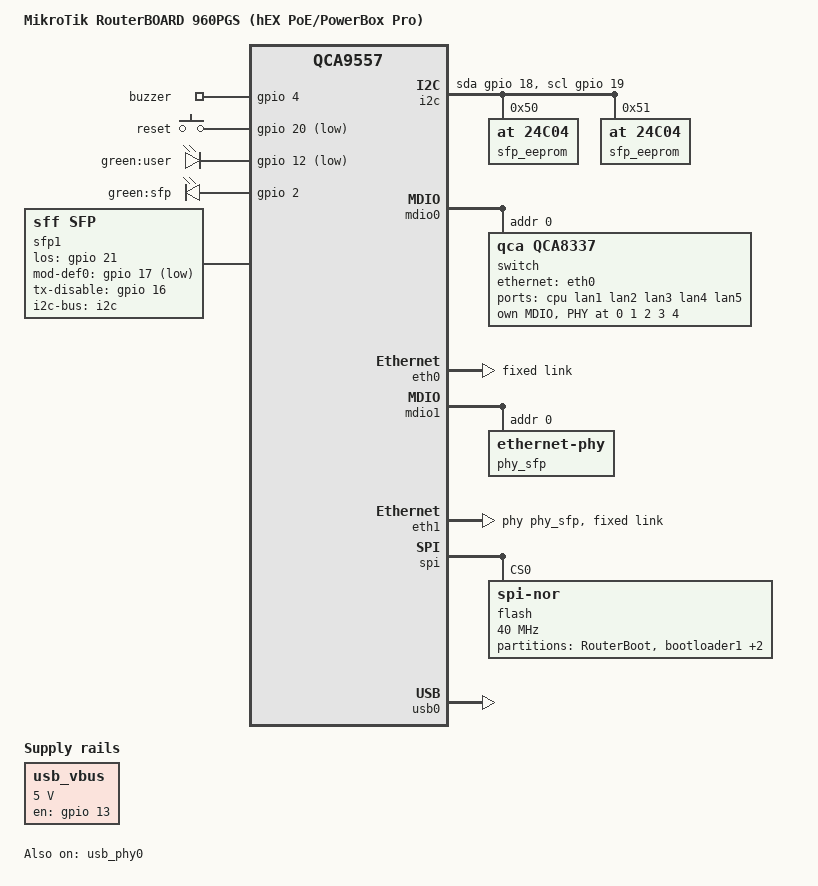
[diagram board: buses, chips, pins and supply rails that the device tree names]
// SPDX-License-Identifier: GPL-2.0-only

#include "qca955x.dtsi"

#include <dt-bindings/gpio/gpio.h>
#include <dt-bindings/input/input.h>
#include <dt-bindings/leds/common.h>

/ {
	compatible = "mikrotik,routerboard-960pgs", "qca,qca9557";
	model = "MikroTik RouterBOARD 960PGS (hEX PoE/PowerBox Pro)";

	aliases {
		led-boot = &led_user;
		led-failsafe = &led_user;
		led-running = &led_user;
		led-upgrade = &led_user;
	};

	gpio_export {
		compatible = "gpio-export";
		#size-cells = <0>;

		buzzer {
			/* Beeper requires PWM for frequency selection */
			gpio-export,name = "buzzer";
			gpio-export,output = <0>;
			gpios = <&gpio 4 GPIO_ACTIVE_HIGH>;
		};
	};

	i2c: i2c {
		compatible = "i2c-gpio";

		i2c-gpio,delay-us = <5>;
		i2c-gpio,timeout-ms = <1>;
		sda-gpios = <&gpio 18 (GPIO_ACTIVE_HIGH|GPIO_OPEN_DRAIN)>;
		scl-gpios = <&gpio 19 (GPIO_ACTIVE_HIGH|GPIO_OPEN_DRAIN)>;

		sfp_eeprom@50 {
			compatible = "at,24c04";
			reg = <0x50>;
		};

		sfp_eeprom@51 {
			compatible = "at,24c04";
			reg = <0x51>;
		};
	};

	keys {
		compatible = "gpio-keys";

		reset {
			debounce-interval = <60>;
			gpios = <&gpio 20 GPIO_ACTIVE_LOW>;
			label = "reset";
			linux,code = <KEY_RESTART>;
		};
	};

	leds {
		compatible = "gpio-leds";

		led_user: user {
			label = "green:user";
			gpios = <&gpio 12 GPIO_ACTIVE_LOW>;
		};

		led_sfp: sfp {
			label = "green:sfp";
			gpios = <&gpio 2 GPIO_ACTIVE_HIGH>;
		};
	};

	sfp1: sfp {
		compatible = "sff,sfp";

		i2c-bus = <&i2c>;
		maximum-power-milliwatt = <1000>;
		los-gpios = <&gpio 21 GPIO_ACTIVE_HIGH>;
		mod-def0-gpios = <&gpio 17 GPIO_ACTIVE_LOW>;
		tx-disable-gpios = <&gpio 16 GPIO_ACTIVE_HIGH>;
	};

	reg_usb_vbus {
		compatible = "regulator-fixed";
		regulator-always-on;
		regulator-min-microvolt = <5000000>;
		regulator-max-microvolt = <5000000>;
		regulator-name = "usb_vbus";
		gpio = <&gpio 13 GPIO_ACTIVE_HIGH>;
		enable-active-high;
	};
};

&mdio0 {
	status = "okay";

	switch@0 {
		compatible = "qca,qca8337";
		#address-cells = <1>;
		#size-cells = <0>;

		reg = <0>;

		ports {
			#address-cells = <1>;
			#size-cells = <0>;

			port@0 {
				reg = <0>;
				label = "cpu";
				ethernet = <&eth0>;
				phy-mode = "rgmii-id";
				fixed-link {
					speed = <1000>;
					full-duplex;
				};
			};

			port@1 {
				reg = <1>;
				label = "lan1";
				phy-mode = "internal";
				phy-handle = <&phy_port1>;

				leds {
					#address-cells = <1>;
					#size-cells = <0>;

					led@0 {
						reg = <0>;
						color = <LED_COLOR_ID_GREEN>;
						function = LED_FUNCTION_LAN;
						default-state = "keep";
					};
				};
			};

			port@2 {
				reg = <2>;
				label = "lan2";
				phy-mode = "internal";
				phy-handle = <&phy_port2>;

				leds {
					#address-cells = <1>;
					#size-cells = <0>;

					led@0 {
						reg = <0>;
						color = <LED_COLOR_ID_GREEN>;
						function = LED_FUNCTION_LAN;
						default-state = "keep";
					};
				};
			};

			port@3 {
				reg = <3>;
				label = "lan3";
				phy-mode = "internal";
				phy-handle = <&phy_port3>;

				leds {
					#address-cells = <1>;
					#size-cells = <0>;

					led@0 {
						reg = <0>;
						color = <LED_COLOR_ID_GREEN>;
						function = LED_FUNCTION_LAN;
						default-state = "keep";
					};
				};
			};

			port@4 {
				reg = <4>;
				label = "lan4";
				phy-mode = "internal";
				phy-handle = <&phy_port4>;

				leds {
					#address-cells = <1>;
					#size-cells = <0>;

					led@0 {
						reg = <0>;
						color = <LED_COLOR_ID_GREEN>;
						function = LED_FUNCTION_LAN;
						default-state = "keep";
					};
				};
			};

			port@5 {
				reg = <5>;
				label = "lan5";
				phy-mode = "internal";
				phy-handle = <&phy_port5>;

				leds {
					#address-cells = <1>;
					#size-cells = <0>;

					led@0 {
						reg = <0>;
						color = <LED_COLOR_ID_GREEN>;
						function = LED_FUNCTION_LAN;
						default-state = "keep";
					};
				};
			};
		};
		mdio {
			#address-cells = <1>;
			#size-cells = <0>;

			phy_port1: phy@0 {
				reg = <0>;
			};

			phy_port2: phy@1 {
				reg = <1>;
			};

			phy_port3: phy@2 {
				reg = <2>;
			};

			phy_port4: phy@3 {
				reg = <3>;
			};

			phy_port5: phy@4 {
				reg = <4>;
			};
		};
	};
};

&eth0 {
	status = "okay";

	pll-data = <0x8f000000 0xa0000101 0xa0001313>;

	fixed-link {
		speed = <1000>;
		full-duplex;
	};
};

&mdio1 {
	status = "okay";

	phy_sfp: ethernet-phy@0 {
		reg = <0>;
		phy-mode = "sgmii";
		sfp = <&sfp1>;
	};
};

&eth1 {
	status = "okay";
	openwrt,netdev-name = "sfp";

	phy-handle = <&phy_sfp>;
	pll-data = <0x03000000 0x00000101 0x00001616>;
	qca955x-sgmii-fixup;

	gmac-config {
		device = <&gmac>;
	};

	fixed-link {
		speed = <1000>;
		full-duplex;
	};
};

&spi {
	status = "okay";

	flash@0 {
		compatible = "jedec,spi-nor";
		reg = <0>;
		spi-max-frequency = <40000000>;

		partitions {
			compatible = "fixed-partitions";
			#address-cells = <1>;
			#size-cells = <1>;

			partition@0 {
				compatible = "mikrotik,routerboot-partitions";
				label = "RouterBoot";
				reg = <0x0 0x20000>;
				#address-cells = <1>;
				#size-cells = <1>;

				partition@0 {
					label = "bootloader1";
					reg = <0x0 0x0>;
					read-only;
				};

				hard_config {
					read-only;
				};

				bios {
					size = <0x1000>;
					read-only;
				};

				partition@10000 {
					label = "bootloader2";
					reg = <0x10000 0x0>;
					read-only;
				};

				soft_config {
				};
			};

			partition@20000 {
				compatible = "mikrotik,minor";
				label = "firmware";
				reg = <0x020000 0xfe0000>;
			};
		};
	};
};

&usb0 {
	status = "okay";
};

&usb_phy0 {
	status = "okay";
};
